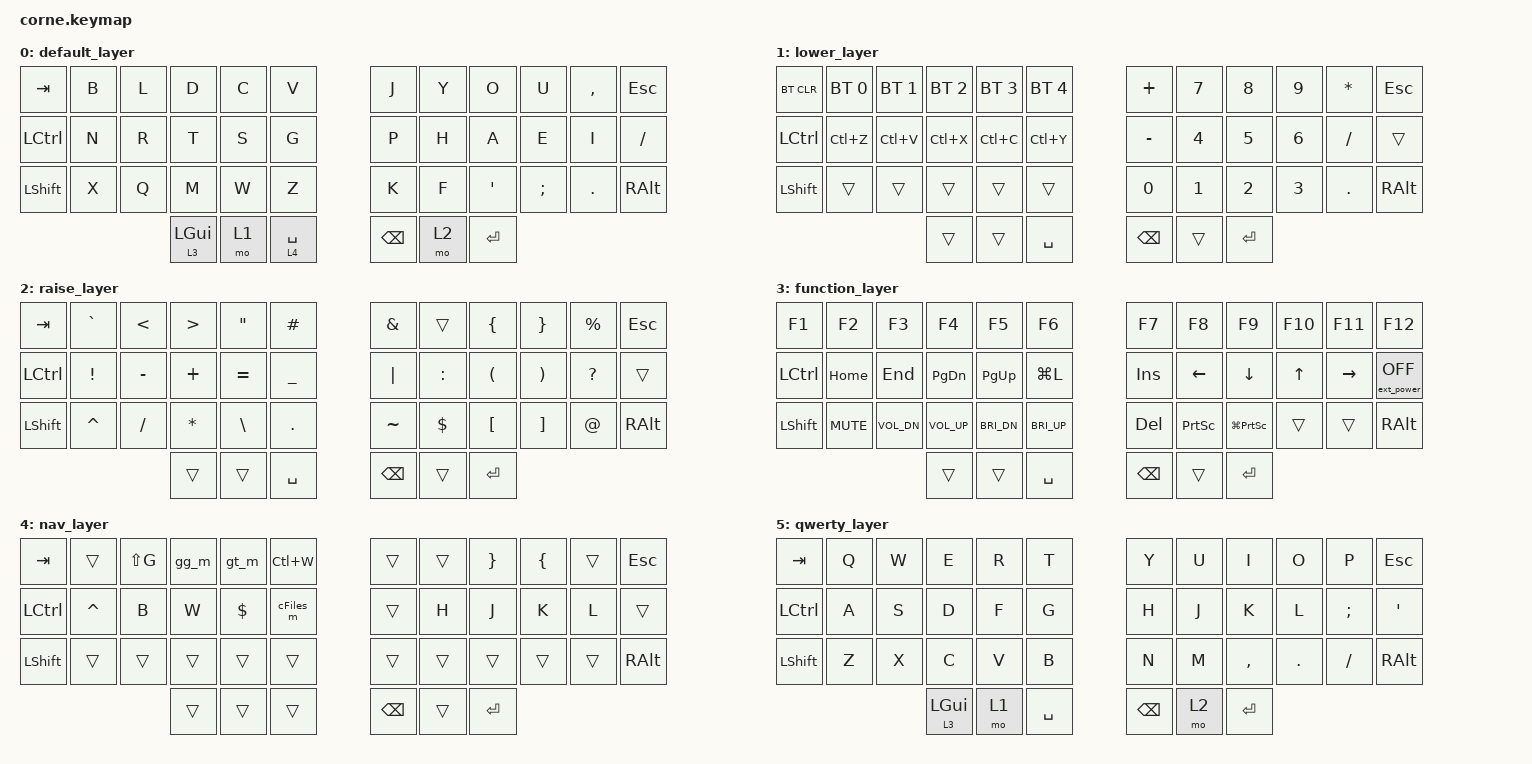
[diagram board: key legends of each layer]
/*
 * Copyright (c) 2020 The ZMK Contributors
 *
 * SPDX-License-Identifier: MIT
 */

#include <behaviors.dtsi>
#include <dt-bindings/zmk/keys.h>
#include <dt-bindings/zmk/bt.h>
#include <dt-bindings/zmk/ext_power.h>

/ {
        macros {
                gt_m: gt {
                        compatible = "zmk,behavior-macro";
                        #binding-cells = <0>;
                        bindings = <&kp G &kp T>;
                };

                gg_m: gg {
                        compatible = "zmk,behavior-macro";
                        #binding-cells = <0>;
                        bindings = <&kp G &kp G>;
                };
                
                cFiles_m: fzf_files {
                        compatible = "zmk,behavior-macro";
                        #binding-cells = <0>;
                        bindings = <&kp COLON &kp LS(F) &kp I &kp L &kp E &kp S &kp RET>;
                };
        };

        keymap {
                compatible = "zmk,keymap";

                default_layer {
// -----------------------------------Gallium v1---------------------------------------------
// |  TAB |  B  |  L  |      D      |  C  |       V      |   |  J   |  Y  |  O  |  U  |  ,  | ESC |
// | CTRL |  N  |  R  |      T      |  S  |       G      |   |  P   |  H  |  A  |  E  |  I  |  /  |
// | SHFT |  X  |  Q  |      M      |  W  |       Z      |   |  K   |  F  |  '  |  ;  |  .  | ALT |
//                    | GUI (LT:FN) | LWR | SPC (LT:NAV) |   | BKSP | RSE | RET |
                        bindings = <
   &kp TAB   &kp B &kp L &kp D &kp C &kp V   &kp J &kp Y  &kp O     &kp U   &kp COMMA &kp ESC
   &kp LCTRL &kp N &kp R &kp T &kp S &kp G   &kp P &kp H  &kp A     &kp E   &kp I    &kp FSLH
   &kp LSHFT &kp X &kp Q &kp M &kp W &kp Z   &kp K &kp F  &kp SQT &kp SEMI &kp DOT &kp RALT
              &lt 3 LGUI &mo 1 &lt 4 SPACE   &kp BSPC &mo 2 &kp RET
                        >;
                };

                lower_layer {
// -----------------------------------------------------------------------------------------
// | BTCLR | BT1  | BT2   | BT3 | BT4  | BT5  |   |  +   |  7  |  8  |  9  | * | ESC |
// |  CTRL | UNDO | PASTE | CUT | COPY | REDO |   |  -   |  4  |  5  |  6  | / |     |
// |  SHFT |      |       |     |      |      |   |  0   |  1  |  2  |  3  | . | ALT |
//                        |     |      | SPC  |   | BKSP |     | RET |
                        bindings = <
   &bt BT_CLR &bt BT_SEL 0 &bt BT_SEL 1 &bt BT_SEL 2 &bt BT_SEL 3 &bt BT_SEL 4    &kp PLUS  &kp N7 &kp N8 &kp N9 &kp ASTRK &kp ESC
   &kp LCTRL  &kp LC(Z)    &kp LC(V)    &kp LC(X)    &kp LC(C)    &kp LC(Y)       &kp MINUS &kp N4 &kp N5 &kp N6 &kp FSLH  &trans
   &kp LSHFT  &trans       &trans       &trans       &trans       &trans          &kp N0    &kp N1 &kp N2 &kp N3 &kp DOT   &kp RALT
                                        &trans       &trans       &kp SPACE       &kp BSPC  &trans &kp RET
                        >;
                };

                raise_layer {
// -----------------------------------------------------------------------------------------
// |  TAB |  `  |  <  |  >  |  "  |  #  |   |  &   |     |  {  |  }  | % | ESC |
// | CTRL |  !  |  -  |  +  |  =  |  _  |   | "|"  |  :  |  (  |  )  | ? |     |
// | SHFT |  ^  |  /  |  *  |  \  |  .  |   |  ~   |  $  |  [  |  ]  | @ | ALT |
//                    |     |     | SPC |   | BKSP |     | RET |
                        bindings = <
   &kp  TAB  &kp GRAVE &kp LT    &kp GT    &kp DQT   &kp HASH    &kp AMPS  &trans    &kp LBRC &kp RBRC &kp PRCNT &kp ESC
   &kp LCTRL &kp EXCL  &kp MINUS &kp PLUS  &kp EQUAL &kp UNDER   &kp PIPE  &kp COLON &kp LPAR &kp RPAR &kp QMARK &trans
   &kp LSHFT &kp CARET &kp FSLH  &kp ASTRK &kp BSLH  &kp DOT     &kp TILDE &kp DLLR  &kp LBKT &kp RBKT &kp  AT   &kp RALT
                                 &trans    &trans    &kp SPACE   &kp BSPC  &trans    &kp RET
                        >;
                };

                function_layer {
// -----------------------------------------------------------------------------------------
// |  F1  |    F2    |    F3    |  F4    |     F5      |     F6    |   |  F7  |  F8   |     F9     | F10 |  F11  |     F12       |
// | CTRL |   HOME   |    END   | PG_DN  |    PG_UP    |    LOCK   |   | INS  | LEFT  |    DOWN    | UP  | RIGHT | EXT_POWER_OFF |
// | SHFT | VOL_MUTE | VOL_DOWN | VOL_UP | BRIGHT_DOWN | BRIGHT_UP |   | DEL  | PSCRN | SCREENSHOT |     |       |     ALT       |
//                              |        |             |    SPC    |   | BKSP |       |    RET     |
                        bindings = <
   &kp  F1   &kp  F2    &kp F3        &kp F4       &kp F5       &kp F6       &kp F7   &kp F8    &kp F9        &kp F10 &kp F11 &kp F12
   &kp LCTRL &kp HOME   &kp END       &kp PG_DN    &kp PG_UP    &kp LG(L)    &kp INS  &kp LEFT  &kp DOWN      &kp UP  &kp RIGHT  &ext_power EP_OFF
   &kp LSHFT &kp C_MUTE &kp C_VOL_DN  &kp C_VOL_UP &kp C_BRI_DN &kp C_BRI_UP &kp DEL  &kp PSCRN &kp LG(PSCRN) &trans  &trans  &kp RALT
                                      &trans       &trans       &kp SPACE    &kp BSPC &trans    &kp RET
                        >;
                };

                nav_layer {
// -----------------------------------------------------------------------------------------
// |  TAB |     | SHIFT+G |  gg  |  gt  | CTRL+W |   |      |     |  }  |  {  |   | ESC |
// | CTRL |  ^  |    B    |  W   |  $   | :Files |   |      |  H  |  J  |  K  | L |     |
// | SHFT |     |         |      |      |        |   |      |     |     |     |   | ALT |
//                        |      |      |        |   | BKSP |     | RET |
                        bindings = <
   &kp  TAB  &trans    &kp LS(G) &gg_m  &gt_m    &kp LC(W)   &trans &trans &kp RBRC &kp LBRC &trans &kp ESC
   &kp LCTRL &kp CARET &kp B     &kp W  &kp DLLR &cFiles_m   &trans &kp H  &kp J    &kp K    &kp L  &trans
   &kp LSHFT &trans    &trans    &trans &trans   &trans      &trans &trans &trans   &trans   &trans &kp RALT
                                   &trans &trans &trans      &kp BSPC &trans &kp RET
                        >;
                };

                qwerty_layer {
// -----------------------------------------------------------------------------------------
// |  TAB |  Q  |  W  |      E      |  R  |  T  |   |  Y   |  U  |  I  |  O  |  P  | ESC |
// | CTRL |  A  |  S  |      D      |  F  |  G  |   |  H   |  J  |  K  |  L  |  ;  |  '  |
// | SHFT |  Z  |  X  |      C      |  V  |  B  |   |  N   |  M  |  ,  |  .  |  /  | ALT |
//                    | GUI (LT:FN) | LWR | SPC |   | BKSP | RSE | RET |
                        bindings = <
   &kp TAB   &kp Q &kp W &kp E &kp R &kp T   &kp Y &kp U  &kp I     &kp O   &kp P     &kp ESC
   &kp LCTRL &kp A &kp S &kp D &kp F &kp G   &kp H &kp J  &kp K     &kp L   &kp SEMI  &kp SQT
   &kp LSHFT &kp Z &kp X &kp C &kp V &kp B   &kp N &kp M  &kp COMMA &kp DOT &kp FSLH &kp RALT
                &lt 3 LGUI &mo 1 &kp SPACE   &kp BSPC &mo 2 &kp RET
                        >;
                };
        };

        combos {
                compatible = "zmk,combos";
                combo_esc {
                        timeout-ms = <50>;
                        key-positions = <36 41>;  // LGUI, RET
                        layers = <0 5>;
                        bindings = <&tog 5>;
                };
        };
};
